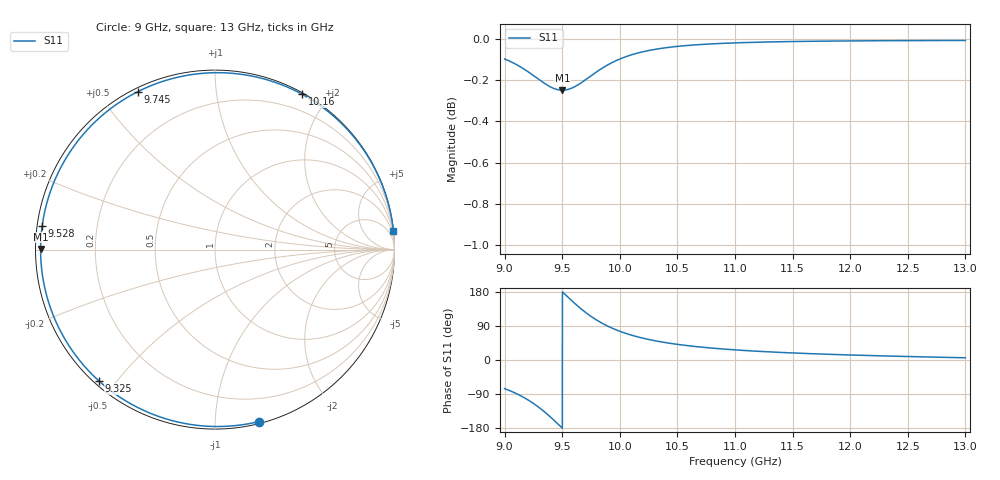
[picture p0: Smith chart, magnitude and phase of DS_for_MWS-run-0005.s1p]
! TOUCHSTONE file generated by CST DESIGN STUDIO
! Date and time: Tue Feb  4 15:56:16 2025
! Project name: C:\Work\MatlabApps\UnitCellOptimizationMatlab\CST\unitcell.cst
! Tree item: Tasks\Sweep1\SPara1\S-Parameters
! Header version: 2024
! Port assignment regex: !\s*Touchstone port\s*([0-9]+)\s*=\s*(CST MWS port|CST DES external port|CST DES block port)\s*(.+)\s* \(\"(.*)\"\)(\s*mode\s*([0-9]+))?.*
! Touchstone port assignment:
! Touchstone port 1 = CST DES external port 1 ("")
# GHz S MA R 50
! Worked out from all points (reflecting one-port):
!   4001 points, 9 GHz to 13 GHz, reference 50 ohm
!   lowest |S11| = -0.2 dB at 9.502 GHz (marker M1), VSWR 70.02, Z = 0.714 + j0.0764 ohm
!   phase of S11 starts at -76 deg and turns -279 deg over the sweep
!   S11 on the Smith chart (normalised r, x): 9 GHz: 0.01, -1.29; 9.325 GHz: 0.01, -0.45; 9.528 GHz: 0.01, +0.07; 9.745 GHz: 0.01, +0.62; 10.16 GHz: 0.02, +1.71; 13 GHz: 0, +20
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9  0.989 -75.6
9.085  0.9865 -86.2
9.187  0.9826 -102.4
9.259  0.9794 -116.5
9.325  0.9765 -131.5
9.372  0.9745 -143.5
9.421  0.973 -156.8
9.461  0.9721 -168.2
9.5  0.9718 -179.6
9.502  0.9718 179.8
9.528  0.972 172.2
9.581  0.9729 157.0
9.641  0.9749 140.8
9.692  0.9771 128.1
9.745  0.9795 116.2
9.797  0.9818 105.8
9.855  0.9842 95.6
9.927  0.9868 84.9
10  0.9889 75.8
10.158  0.9923 60.8
10.313  0.9944 50.3
10.5  0.996 41.3
10.722  0.9971 33.6
11  0.9979 26.7
11.5  0.9987 18.6
12  0.999 13.2
12.5  0.9992 9.2
13  0.9993 5.8
